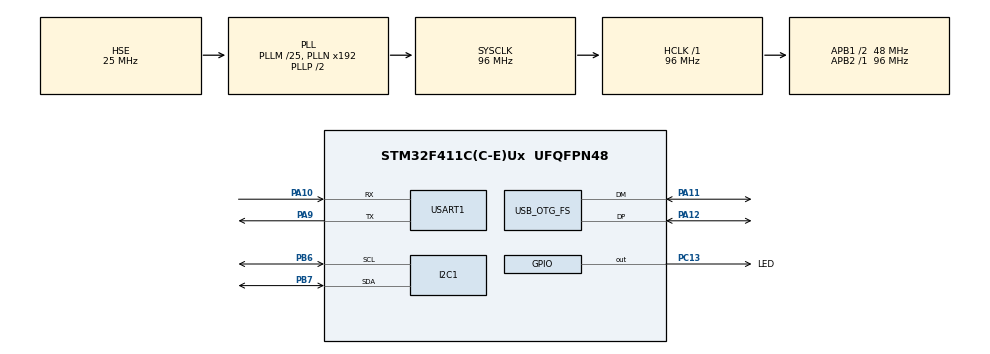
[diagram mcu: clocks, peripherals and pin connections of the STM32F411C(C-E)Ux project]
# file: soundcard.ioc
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FREERTOS.Mutexes01=mtxLog,Dynamic,NULL;mtxBuffer,Dynamic,NULL
FREERTOS.Tasks01=tskDefault,8,128,taskDefault,Default,NULL,Dynamic,NULL,NULL;tskI2C,24,512,taskI2C,As external,NULL,Dynamic,NULL,NULL;tskUsb,48,512,taskUsb,As external,NULL,Dynamic,NULL,NULL
FREERTOS.configUSE_NEWLIB_REENTRANT=1
Mcu.Family=STM32F4
Mcu.Name=STM32F411C(C-E)Ux
Mcu.Package=UFQFPN48
NVIC.OTG_FS_IRQn=true\:5\:0\:false\:false\:true\:true\:true\:true\:true
NVIC.PriorityGroup=NVIC_PRIORITYGROUP_4
PA10.Mode=Asynchronous
PA10.Signal=USART1_RX
PA11.Mode=Device_Only
PA11.Signal=USB_OTG_FS_DM
PA12.Mode=Device_Only
PA12.Signal=USB_OTG_FS_DP
PA13.Mode=Serial_Wire
PA13.Signal=SYS_JTMS-SWDIO
PA14.Mode=Serial_Wire
PA14.Signal=SYS_JTCK-SWCLK
PA9.Mode=Asynchronous
PA9.Signal=USART1_TX
PB6.Mode=I2C
PB6.Signal=I2C1_SCL
PB7.Mode=I2C
PB7.Signal=I2C1_SDA
PC13-ANTI_TAMP.GPIO_Label=LED
PC13-ANTI_TAMP.Signal=GPIO_Output
PH0\ -\ OSC_IN.Mode=HSE-External-Oscillator
PH0\ -\ OSC_IN.Signal=RCC_OSC_IN
PH1\ -\ OSC_OUT.Mode=HSE-External-Oscillator
PH1\ -\ OSC_OUT.Signal=RCC_OSC_OUT
ProjectManager.HeapSize=0x200
ProjectManager.StackSize=0x400
ProjectManager.TargetToolchain=STM32CubeIDE
RCC.48MHZClocksFreq_Value=48000000
RCC.AHBFreq_Value=96000000
RCC.APB1CLKDivider=RCC_HCLK_DIV2
RCC.APB1Freq_Value=48000000
RCC.APB1TimFreq_Value=96000000
RCC.APB2Freq_Value=96000000
RCC.APB2TimFreq_Value=96000000
RCC.CortexFreq_Value=96000000
RCC.HCLKFreq_Value=96000000
RCC.HSE_VALUE=25000000
RCC.HSI_VALUE=16000000
RCC.LSE_VALUE=32768
RCC.PLLM=25
RCC.RCC_RTC_Clock_SourceVirtual=RCC_RTCCLKSOURCE_HSE_DIV25
RCC.RCC_RTC_Clock_Source_FROM_HSE=RCC_RTCCLKSOURCE_HSE_DIV25
RCC.SYSCLKFreq_VALUE=96000000
RCC.SYSCLKSource=RCC_SYSCLKSOURCE_PLLCLK
RCC.VCOOutputFreq_Value=192000000
RTC.AsynchPrediv=124
RTC.SynchPrediv=7999
USART1.VirtualMode=VM_ASYNC
USB_OTG_FS.VirtualMode=Device_Only
VP_FREERTOS_VS_CMSIS_V2.Mode=CMSIS_V2
VP_RTC_VS_RTC_Activate.Mode=RTC_Enabled
board=custom

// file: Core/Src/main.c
/* USER CODE BEGIN Header */
/**
 ******************************************************************************
 * @file           : main.c
 * @brief          : Main program body
 ******************************************************************************
 * @attention
 *
 * Copyright (c) 2023 STMicroelectronics.
 * All rights reserved.
 *
 * This software is licensed under terms that can be found in the LICENSE file
 * in the root directory of this software component.
 * If no LICENSE file comes with this software, it is provided AS-IS.
 *
 ******************************************************************************
 */
/* USER CODE END Header */
#include "main.h"
#include "cmsis_os.h"

/* USER CODE BEGIN Includes */
#include "log.h"
/* USER CODE END Includes */

I2C_HandleTypeDef hi2c1;

RTC_HandleTypeDef hrtc;

UART_HandleTypeDef huart1;

PCD_HandleTypeDef hpcd_USB_OTG_FS;

/* Definitions for tskDefault */
osThreadId_t tskDefaultHandle;
const osThreadAttr_t tskDefault_attributes = {
  .name = "tskDefault",
  .stack_size = 128 * 4,
  .priority = (osPriority_t) osPriorityLow,
};
/* Definitions for tskI2C */
osThreadId_t tskI2CHandle;
const osThreadAttr_t tskI2C_attributes = {
  .name = "tskI2C",
  .stack_size = 512 * 4,
  .priority = (osPriority_t) osPriorityNormal,
};
/* Definitions for tskUsb */
osThreadId_t tskUsbHandle;
const osThreadAttr_t tskUsb_attributes = {
  .name = "tskUsb",
  .stack_size = 512 * 4,
  .priority = (osPriority_t) osPriorityRealtime,
};
/* Definitions for mtxLog */
osMutexId_t mtxLogHandle;
const osMutexAttr_t mtxLog_attributes = {
  .name = "mtxLog"
};
/* Definitions for mtxBuffer */
osMutexId_t mtxBufferHandle;
const osMutexAttr_t mtxBuffer_attributes = {
  .name = "mtxBuffer"
};

void SystemClock_Config(void);
static void MX_GPIO_Init(void);
static void MX_I2C1_Init(void);
static void MX_USB_OTG_FS_PCD_Init(void);
static void MX_USART1_UART_Init(void);
static void MX_RTC_Init(void);
void taskDefault(void *argument);
extern void taskI2C(void *argument);
extern void taskUsb(void *argument);

/* USER CODE BEGIN 0 */

#ifdef __GNUC__
#define PUTCHAR_PROTOTYPE int __io_putchar(int ch)
#else
#define PUTCHAR_PROTOTYPE int fputc(int ch, FILE *f)
#endif

PUTCHAR_PROTOTYPE {
	HAL_UART_Transmit(&huart1, (uint8_t*) &ch, 1, HAL_MAX_DELAY);
	return ch;
}

void DWTEn() {
	(*((uint32_t*) 0xE000EDFC)) |= (1 << 24);
}
void CpuTicksEn() {
	(*((uint32_t*) 0xE0001000)) = 0x40000001;
}
void CpuTicksDis() {
	(*((uint32_t*) 0xE0001000)) = 0x40000000;
}
uint32_t CpuGetTicks() {
	return (*((uint32_t*) 0xE0001004));
}

#include <sys/time.h>

void myLog_LockFn(bool lock) {
	assert(mtxLogHandle);
	if (lock) {
		osMutexAcquire(mtxLogHandle, 500);

	} else {
		osMutexRelease(mtxLogHandle);

	}
}

/* USER CODE END 0 */

int main(void)
{

  /* MCU Configuration--------------------------------------------------------*/

  /* Reset of all peripherals, Initializes the Flash interface and the Systick. */
  HAL_Init();

  /* Configure the system clock */
  SystemClock_Config();

  /* Initialize all configured peripherals */
  MX_GPIO_Init();
  MX_I2C1_Init();
  MX_USB_OTG_FS_PCD_Init();
  MX_USART1_UART_Init();
  MX_RTC_Init();

  /* Init scheduler */
  osKernelInitialize();
  /* Create the mutex(es) */
  /* creation of mtxLog */
  mtxLogHandle = osMutexNew(&mtxLog_attributes);

  /* creation of mtxBuffer */
  mtxBufferHandle = osMutexNew(&mtxBuffer_attributes);

  /* USER CODE BEGIN RTOS_MUTEX */
	/* add mutexes, ... */
  log_set_lock(myLog_LockFn);
  assert(mtxLogHandle);
  assert(mtxBufferHandle);
  /* USER CODE END RTOS_MUTEX */

  /* Create the thread(s) */
  /* creation of tskDefault */
  tskDefaultHandle = osThreadNew(taskDefault, NULL, &tskDefault_attributes);

  /* creation of tskI2C */
  tskI2CHandle = osThreadNew(taskI2C, NULL, &tskI2C_attributes);

  /* creation of tskUsb */
  tskUsbHandle = osThreadNew(taskUsb, NULL, &tskUsb_attributes);

  /* Start scheduler */
  osKernelStart();

  /* We should never get here as control is now taken by the scheduler */
  /* Infinite loop */
	while (1) {

	}
}

void SystemClock_Config(void)
{
  RCC_OscInitTypeDef RCC_OscInitStruct = {0};
  RCC_ClkInitTypeDef RCC_ClkInitStruct = {0};

  /** Configure the main internal regulator output voltage
  */
  __HAL_RCC_PWR_CLK_ENABLE();
  __HAL_PWR_VOLTAGESCALING_CONFIG(PWR_REGULATOR_VOLTAGE_SCALE1);

  /** Initializes the RCC Oscillators according to the specified parameters
  * in the RCC_OscInitTypeDef structure.
  */
  RCC_OscInitStruct.OscillatorType = RCC_OSCILLATORTYPE_HSE;
  RCC_OscInitStruct.HSEState = RCC_HSE_ON;
  RCC_OscInitStruct.PLL.PLLState = RCC_PLL_ON;
  RCC_OscInitStruct.PLL.PLLSource = RCC_PLLSOURCE_HSE;
  RCC_OscInitStruct.PLL.PLLM = 25;
  RCC_OscInitStruct.PLL.PLLN = 192;
  RCC_OscInitStruct.PLL.PLLP = RCC_PLLP_DIV2;
  RCC_OscInitStruct.PLL.PLLQ = 4;
  if (HAL_RCC_OscConfig(&RCC_OscInitStruct) != HAL_OK)
  {
    Error_Handler();
  }

  /** Initializes the CPU, AHB and APB buses clocks
  */
  RCC_ClkInitStruct.ClockType = RCC_CLOCKTYPE_HCLK|RCC_CLOCKTYPE_SYSCLK
                              |RCC_CLOCKTYPE_PCLK1|RCC_CLOCKTYPE_PCLK2;
  RCC_ClkInitStruct.SYSCLKSource = RCC_SYSCLKSOURCE_PLLCLK;
  RCC_ClkInitStruct.AHBCLKDivider = RCC_SYSCLK_DIV1;
  RCC_ClkInitStruct.APB1CLKDivider = RCC_HCLK_DIV2;
  RCC_ClkInitStruct.APB2CLKDivider = RCC_HCLK_DIV1;

  if (HAL_RCC_ClockConfig(&RCC_ClkInitStruct, FLASH_LATENCY_3) != HAL_OK)
  {
    Error_Handler();
  }
}

static void MX_I2C1_Init(void)
{

  hi2c1.Instance = I2C1;
  hi2c1.Init.ClockSpeed = 100000;
  hi2c1.Init.DutyCycle = I2C_DUTYCYCLE_2;
  hi2c1.Init.OwnAddress1 = 0;
  hi2c1.Init.AddressingMode = I2C_ADDRESSINGMODE_7BIT;
  hi2c1.Init.DualAddressMode = I2C_DUALADDRESS_DISABLE;
  hi2c1.Init.OwnAddress2 = 0;
  hi2c1.Init.GeneralCallMode = I2C_GENERALCALL_DISABLE;
  hi2c1.Init.NoStretchMode = I2C_NOSTRETCH_DISABLE;
  if (HAL_I2C_Init(&hi2c1) != HAL_OK)
  {
    Error_Handler();
  }

}

static void MX_RTC_Init(void)
{

  /** Initialize RTC Only
  */
  hrtc.Instance = RTC;
  hrtc.Init.HourFormat = RTC_HOURFORMAT_24;
  hrtc.Init.AsynchPrediv = 124;
  hrtc.Init.SynchPrediv = 7999;
  hrtc.Init.OutPut = RTC_OUTPUT_DISABLE;
  hrtc.Init.OutPutPolarity = RTC_OUTPUT_POLARITY_HIGH;
  hrtc.Init.OutPutType = RTC_OUTPUT_TYPE_OPENDRAIN;
  if (HAL_RTC_Init(&hrtc) != HAL_OK)
  {
    Error_Handler();
  }

}

static void MX_USART1_UART_Init(void)
{

  huart1.Instance = USART1;
  huart1.Init.BaudRate = 115200;
  huart1.Init.WordLength = UART_WORDLENGTH_8B;
  huart1.Init.StopBits = UART_STOPBITS_1;
  huart1.Init.Parity = UART_PARITY_NONE;
  huart1.Init.Mode = UART_MODE_TX_RX;
  huart1.Init.HwFlowCtl = UART_HWCONTROL_NONE;
  huart1.Init.OverSampling = UART_OVERSAMPLING_16;
  if (HAL_UART_Init(&huart1) != HAL_OK)
  {
    Error_Handler();
  }

}

static void MX_USB_OTG_FS_PCD_Init(void)
{

  hpcd_USB_OTG_FS.Instance = USB_OTG_FS;
  hpcd_USB_OTG_FS.Init.dev_endpoints = 4;
  hpcd_USB_OTG_FS.Init.speed = PCD_SPEED_FULL;
  hpcd_USB_OTG_FS.Init.dma_enable = DISABLE;
  hpcd_USB_OTG_FS.Init.phy_itface = PCD_PHY_EMBEDDED;
  hpcd_USB_OTG_FS.Init.Sof_enable = DISABLE;
  hpcd_USB_OTG_FS.Init.low_power_enable = DISABLE;
  hpcd_USB_OTG_FS.Init.lpm_enable = DISABLE;
  hpcd_USB_OTG_FS.Init.vbus_sensing_enable = DISABLE;
  hpcd_USB_OTG_FS.Init.use_dedicated_ep1 = DISABLE;
  if (HAL_PCD_Init(&hpcd_USB_OTG_FS) != HAL_OK)
  {
    Error_Handler();
  }

}

static void MX_GPIO_Init(void)
{
  GPIO_InitTypeDef GPIO_InitStruct = {0};

  /* GPIO Ports Clock Enable */
  __HAL_RCC_GPIOC_CLK_ENABLE();
  __HAL_RCC_GPIOH_CLK_ENABLE();
  __HAL_RCC_GPIOA_CLK_ENABLE();
  __HAL_RCC_GPIOB_CLK_ENABLE();

  /*Configure GPIO pin Output Level */
  HAL_GPIO_WritePin(LED_GPIO_Port, LED_Pin, GPIO_PIN_RESET);

  /*Configure GPIO pin : LED_Pin */
  GPIO_InitStruct.Pin = LED_Pin;
  GPIO_InitStruct.Mode = GPIO_MODE_OUTPUT_PP;
  GPIO_InitStruct.Pull = GPIO_NOPULL;
  GPIO_InitStruct.Speed = GPIO_SPEED_FREQ_LOW;
  HAL_GPIO_Init(LED_GPIO_Port, &GPIO_InitStruct);

}

/* USER CODE BEGIN 4 */
/*
void taskUsb(void *argument){
	while (true) {
		log_info("Heartbeat Usb");
		osDelay(300);
	}
}

void taskI2C(void *argument){
	while (true) {
		log_info("Heartbeat I2C");
		osDelay(600);
	}
}
*/

/* USER CODE END 4 */

void taskDefault(void *argument)
{
  /* USER CODE BEGIN 5 */

	/* Infinite loop */
	while(true){
		//log_info("Heartbeat Default");
		osDelay(1000);
	}
  /* USER CODE END 5 */
}

void Error_Handler(void)
{
	__disable_irq();
	while (1) {
	}
}

#ifdef  USE_FULL_ASSERT
/**
  * @brief  Reports the name of the source file and the source line number
  *         where the assert_param error has occurred.
  * @param  file: pointer to the source file name
  * @param  line: assert_param error line source number
  * @retval None
  */
void assert_failed(uint8_t *file, uint32_t line)
{
  /* USER CODE BEGIN 6 */

	log_fatal("Wrong parameters value: file %s on line %ld\r\n", file, line);
  /* USER CODE END 6 */
}
#endif /* USE_FULL_ASSERT */
